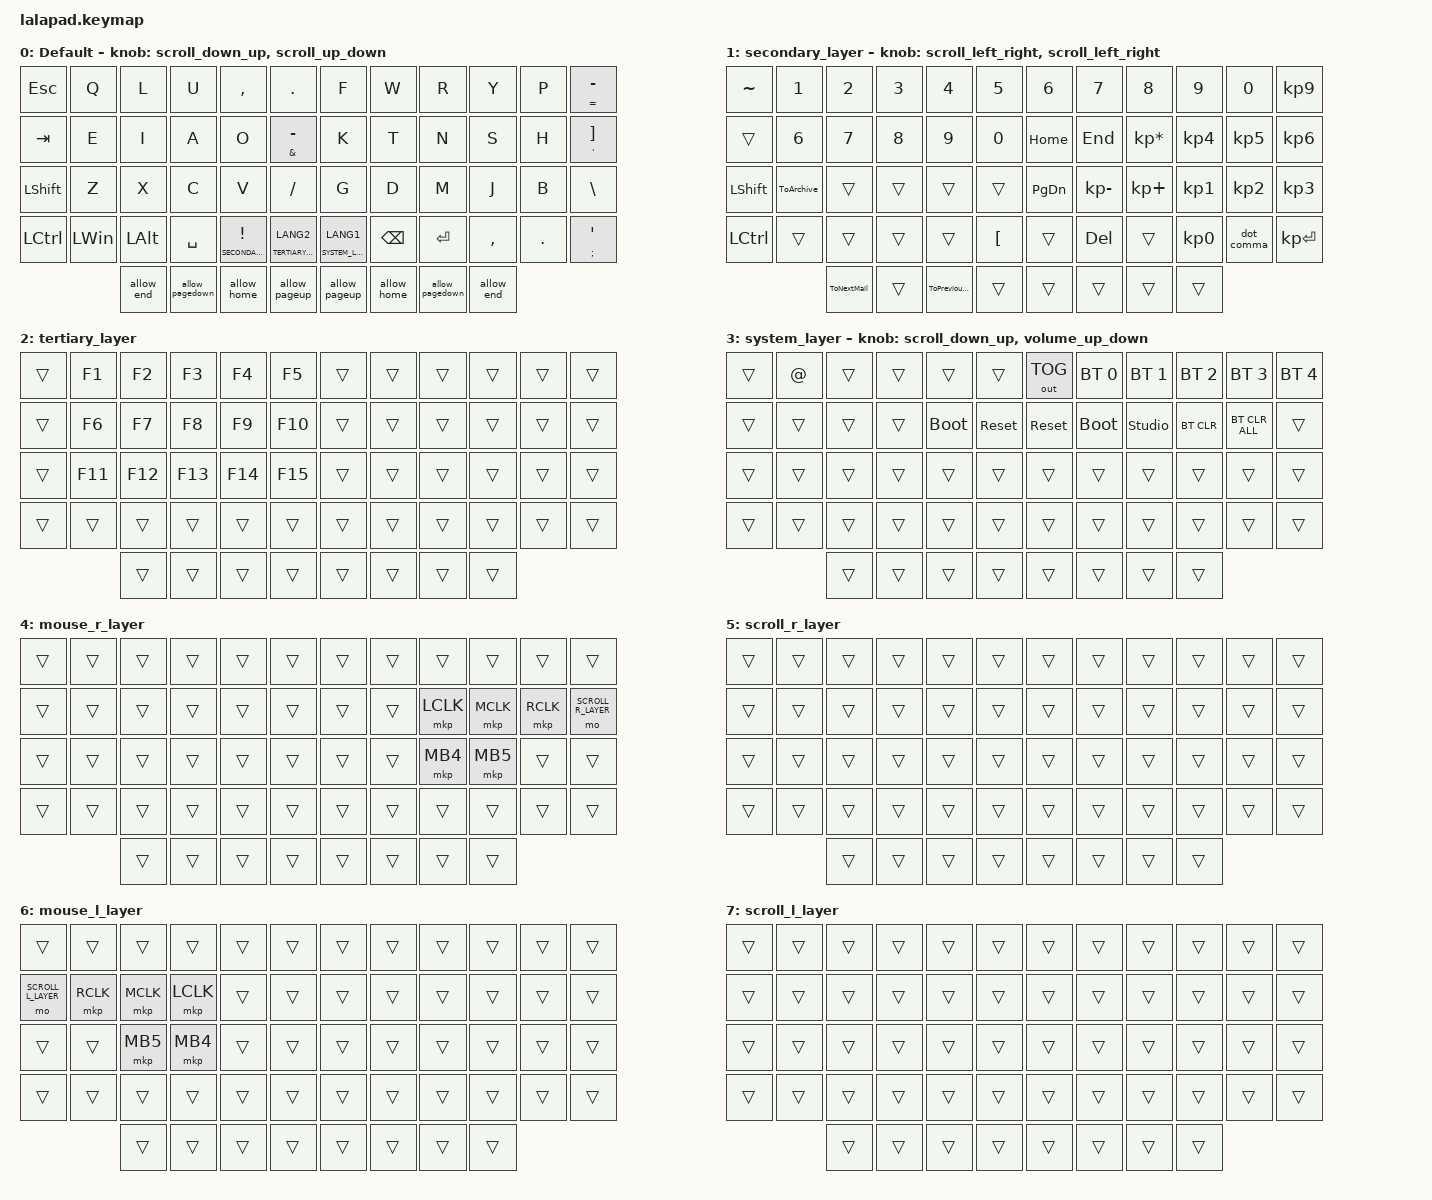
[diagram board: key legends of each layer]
#include <input/processors.dtsi>
#include <behaviors.dtsi>
#include <dt-bindings/zmk/bt.h>
#include <dt-bindings/zmk/keys.h>
#include <dt-bindings/zmk/outputs.h>
#include <dt-bindings/zmk/pointing.h>

#define DEFAULT_LAYER   0
#define SECONDARY_LAYER 1
#define TERTIARY_LAYER  2
#define SYSTEM_LAYER    3
#define MOUSE_R_LAYER   4
#define SCROLL_R_LAYER  5
#define MOUSE_L_LAYER   6
#define SCROLL_L_LAYER  7

// Mouse Scroll Value

#define ZMK_POINTING_DEFAULT_SCRL_VAL 100

// cirque trackpad input&layer control

&glidepoint_listener_R {
    input-processors =
        <&zip_xy_transform (INPUT_TRANSFORM_XY_SWAP | INPUT_TRANSFORM_X_INVERT | INPUT_TRANSFORM_Y_INVERT)>,
        <&zip_xy_scaler 5 3>,
        <&zip_temp_layer MOUSE_R_LAYER 500>;

    lowspeedmode {
        layers = <SECONDARY_LAYER>;
        input-processors =
            <&zip_xy_transform (INPUT_TRANSFORM_XY_SWAP | INPUT_TRANSFORM_X_INVERT | INPUT_TRANSFORM_Y_INVERT)>,
            <&zip_xy_scaler 3 5>,
            <&zip_temp_layer MOUSE_R_LAYER 500>;
    };

    highspeedmode {
        layers = <TERTIARY_LAYER>;
        input-processors =
            <&zip_xy_transform (INPUT_TRANSFORM_XY_SWAP | INPUT_TRANSFORM_X_INVERT | INPUT_TRANSFORM_Y_INVERT)>,
            <&zip_xy_scaler 3 1>,
            <&zip_temp_layer MOUSE_R_LAYER 500>;
    };

    scroller {
        layers = <SCROLL_R_LAYER>;
        input-processors =
            <&zip_xy_to_scroll_mapper>,
            <&zip_scroll_transform (INPUT_TRANSFORM_XY_SWAP | INPUT_TRANSFORM_Y_INVERT)>,
            <&zip_scroll_scaler 1 8>;
    };
};

&glidepoint_listener_L {
    input-processors =
        <&zip_xy_transform (INPUT_TRANSFORM_XY_SWAP | INPUT_TRANSFORM_X_INVERT | INPUT_TRANSFORM_Y_INVERT)>,
        <&zip_xy_scaler 3 2>,
        <&zip_temp_layer MOUSE_L_LAYER 500>;

    lowspeedmode {
        layers = <SECONDARY_LAYER>;
        input-processors =
            <&zip_xy_transform (INPUT_TRANSFORM_XY_SWAP | INPUT_TRANSFORM_X_INVERT | INPUT_TRANSFORM_Y_INVERT)>,
            <&zip_xy_scaler 3 4>,
            <&zip_temp_layer MOUSE_L_LAYER 500>;
    };

    scroller {
        layers = <SCROLL_L_LAYER>;
        input-processors =
            <&zip_xy_to_scroll_mapper>,
            <&zip_scroll_transform (INPUT_TRANSFORM_XY_SWAP | INPUT_TRANSFORM_Y_INVERT)>,
            <&zip_scroll_scaler 1 6>;
    };
};

/ {
    behaviors {
        // Encoder to Mouse Scroll

        scroll_up_down: sensor_scroll_up_down {
            compatible = "zmk,behavior-sensor-rotate";
            #sensor-binding-cells = <0>;
            bindings = <&msc SCRL_UP>, <&msc SCRL_DOWN>;

            tap-ms = <20>;
            label = "SCROLL_UP_DOWN";
        };

        scroll_down_up: sensor_scroll_down_up {
            compatible = "zmk,behavior-sensor-rotate";
            #sensor-binding-cells = <0>;
            bindings = <&msc SCRL_DOWN>, <&msc SCRL_UP>;

            tap-ms = <20>;
            label = "SCROLL_DOWN_UP";
        };

        scroll_left_right: sensor_scroll_left_right {
            compatible = "zmk,behavior-sensor-rotate";
            #sensor-binding-cells = <0>;
            bindings = <&msc SCRL_LEFT>, <&msc SCRL_RIGHT>;

            tap-ms = <20>;
            label = "SCROLL_LEFT_RIGHT";
        };

        scroll_right_left: sensor_scroll_right_left {
            compatible = "zmk,behavior-sensor-rotate";
            #sensor-binding-cells = <0>;
            bindings = <&msc SCRL_RIGHT>, <&msc SCRL_LEFT>;

            tap-ms = <20>;
            label = "SCROLL_RIGHT_LEFT";
        };

        volume_up_down: sensor_volume_up_down {
            compatible = "zmk,behavior-sensor-rotate";
            #sensor-binding-cells = <0>;
            bindings = <&kp C_VOLUME_UP>, <&kp C_VOLUME_DOWN>;

            tap-ms = <20>;
            label = "VOLUME_UP_DOWN";
        };

        dot_comma: dot_comma {
            compatible = "zmk,behavior-mod-morph";
            #binding-cells = <0>;
            bindings = <&kp KP_DOT>, <&kp COMMA>;

            mods = <(MOD_LSFT|MOD_RSFT)>;
            label = "DOT_COMMA";
        };

        pls_minus: pls_minus {
            compatible = "zmk,behavior-mod-morph";
            #binding-cells = <0>;
            bindings = <&kp PLUS>, <&kp MINUS>;

            mods = <(MOD_LSFT|MOD_RSFT)>;
            label = "PLS_MINUS";
        };

        allow_pageup: allow_pageup {
            compatible = "zmk,behavior-mod-morph";
            #binding-cells = <0>;
            bindings = <&kp UP>, <&kp PAGE_UP>;

            mods = <(MOD_LCTL|MOD_RCTL)>;
            label = "ALLOW_PAGEUP";
        };

        allow_pagedown: allow_pagedown {
            compatible = "zmk,behavior-mod-morph";
            #binding-cells = <0>;
            bindings = <&kp DOWN>, <&kp PAGE_DOWN>;

            mods = <(MOD_LCTL|MOD_RCTL)>;
            label = "ALLOW_PAGEDOWN";
        };

        allow_home: allow_home {
            compatible = "zmk,behavior-mod-morph";
            #binding-cells = <0>;
            bindings = <&kp LEFT>, <&kp HOME>;

            mods = <(MOD_LCTL|MOD_RCTL)>;
            label = "ALLOW_HOME";
        };

        allow_end: allow_end {
            compatible = "zmk,behavior-mod-morph";
            #binding-cells = <0>;
            bindings = <&kp RIGHT>, <&kp END>;

            mods = <(MOD_LCTL|MOD_RCTL)>;
            label = "ALLOW_END";
        };

        mt2: mod_tap2 {
            compatible = "zmk,behavior-hold-tap";
            #binding-cells = <2>;
            flavor = "tap-preferred";
            tapping-term-ms = <200>;
            quick-tap-ms = <200>;
            require-prior-idle-ms = <125>;
            bindings = <&kp>, <&kp>;
        };
    };

    macros {
        ToArchive: ToArchive {
            compatible = "zmk,behavior-macro";
            #binding-cells = <0>;
            bindings =
                <&macro_press>,
                <&kp LCTRL &kp LSHIFT &kp N1>,
                <&macro_release>,
                <&kp LCTRL &kp LSHIFT &kp N1>,
                <&macro_press>;

            label = "TOARCHIVE";
        };

        ToNextMail: ToNextMail {
            compatible = "zmk,behavior-macro";
            #binding-cells = <0>;
            bindings =
                <&macro_press>,
                <&kp LCTRL &kp GREATER_THAN>,
                <&macro_release>,
                <&kp LCTRL &kp GREATER_THAN>;

            label = "TONEXTMAIL";
        };

        ToPreviousMail: ToPreviousMail {
            compatible = "zmk,behavior-macro";
            #binding-cells = <0>;
            bindings =
                <&macro_press>,
                <&kp LCTRL &kp LESS_THAN>,
                <&macro_release>,
                <&kp LCTRL &kp LESS_THAN>;

            label = "TOPREVIOUSMAIL";
        };

        at: at {
            compatible = "zmk,behavior-macro";
            #binding-cells = <0>;
            bindings = <&none>;
            label = "AT";
        };
    };

    combos {
        compatible = "zmk,combos";

        NextMail {
            bindings = <&none>;
            key-positions = <36 33>;
        };

        PreviousMail {
            bindings = <&none>;
            key-positions = <36 32>;
        };
    };

    keymap {
        compatible = "zmk,keymap";

        DEFAULT_LAYER {
            display-name = "Default";
            sensor-bindings = <&scroll_down_up>, <&scroll_up_down>;

            bindings = <
&kp ESC    &kp Q         &kp L         &kp U            &kp COMMA                 &kp PERIOD                &kp F                   &kp W          &kp R            &kp Y       &kp P       &mt EQUAL MINUS
&kp TAB    &kp E         &kp I         &kp A            &kp O                     &mt AMPERSAND MINUS       &kp K                   &kp T          &kp N            &kp S       &kp H       &mt2 SQT RBKT
&kp LSHFT  &kp Z         &kp X         &kp C            &kp V                     &kp SLASH                 &kp G                   &kp D          &kp M            &kp J       &kp B       &kp BSLH
&kp LCTRL  &kp LEFT_WIN  &kp LEFT_ALT  &kp SPACE        &lt SECONDARY_LAYER EXCL  &lt TERTIARY_LAYER LANG2  &lt SYSTEM_LAYER LANG1  &kp BACKSPACE  &kp RET          &kp COMMA   &kp PERIOD  &mt SEMICOLON SINGLE_QUOTE
                         &allow_end    &allow_pagedown  &allow_home               &allow_pageup             &allow_pageup           &allow_home    &allow_pagedown  &allow_end
            >;
        };

        SECONDARY_LAYER {
            display-name = "secondary_layer";
            sensor-bindings = <&scroll_left_right>, <&scroll_left_right>;

            bindings = <
&kp TILDE         &kp NUMBER_1  &kp NUMBER_2  &kp NUMBER_3  &kp NUMBER_4     &kp NUMBER_5      &kp NUMBER_6   &kp N7        &kp N8           &kp N9           &kp N0           &kp KP_NUMBER_9
&trans            &kp NUMBER_6  &kp NUMBER_7  &kp NUMBER_8  &kp NUMBER_9     &kp NUMBER_0      &kp HOME       &kp END       &kp KP_ASTERISK  &kp KP_NUMBER_4  &kp KP_NUMBER_5  &kp KP_NUMBER_6
&kp LEFT_SHIFT    &ToArchive    &trans        &trans        &trans           &trans            &kp PAGE_DOWN  &kp KP_MINUS  &kp KP_PLUS      &kp KP_NUMBER_1  &kp KP_NUMBER_2  &kp KP_NUMBER_3
&kp LEFT_CONTROL  &trans        &trans        &trans        &trans           &kp LEFT_BRACKET  &trans         &kp DELETE    &trans           &kp KP_NUMBER_0  &dot_comma       &kp KP_ENTER
                                &ToNextMail   &trans        &ToPreviousMail  &trans            &trans         &trans        &trans           &trans
            >;
        };

        TERTIARY_LAYER {
            display-name = "tertiary_layer";
            bindings = <
&trans  &kp F1   &kp F2   &kp F3   &kp F4   &kp F5   &trans  &trans  &trans  &trans  &trans  &trans
&trans  &kp F6   &kp F7   &kp F8   &kp F9   &kp F10  &trans  &trans  &trans  &trans  &trans  &trans
&trans  &kp F11  &kp F12  &kp F13  &kp F14  &kp F15  &trans  &trans  &trans  &trans  &trans  &trans
&trans  &trans   &trans   &trans   &trans   &trans   &trans  &trans  &trans  &trans  &trans  &trans
                 &trans   &trans   &trans   &trans   &trans  &trans  &trans  &trans
            >;
        };

        SYSTEM_LAYER {
            display-name = "system_layer";
            sensor-bindings = <&scroll_down_up>, <&volume_up_down>;

            bindings = <
&trans  &kp AT_SIGN  &trans  &trans  &trans       &trans      &out OUT_TOG  &bt BT_SEL 0  &bt BT_SEL 1    &bt BT_SEL 2  &bt BT_SEL 3    &bt BT_SEL 4
&trans  &trans       &trans  &trans  &bootloader  &sys_reset  &sys_reset    &bootloader   &studio_unlock  &bt BT_CLR    &bt BT_CLR_ALL  &trans
&trans  &trans       &trans  &trans  &trans       &trans      &trans        &trans        &trans          &trans        &trans          &trans
&trans  &trans       &trans  &trans  &trans       &trans      &trans        &trans        &trans          &trans        &trans          &trans
                     &trans  &trans  &trans       &trans      &trans        &trans        &trans          &trans
            >;
        };

        MOUSE_R_LAYER {
            display-name = "mouse_r_layer";
            bindings = <
&trans  &trans  &trans  &trans  &trans  &trans  &trans  &trans  &trans     &trans     &trans     &trans
&trans  &trans  &trans  &trans  &trans  &trans  &trans  &trans  &mkp LCLK  &mkp MCLK  &mkp RCLK  &mo SCROLL_R_LAYER
&trans  &trans  &trans  &trans  &trans  &trans  &trans  &trans  &mkp MB4   &mkp MB5   &trans     &trans
&trans  &trans  &trans  &trans  &trans  &trans  &trans  &trans  &trans     &trans     &trans     &trans
                &trans  &trans  &trans  &trans  &trans  &trans  &trans     &trans
            >;
        };

        SCROLL_R_LAYER {
            display-name = "scroll_r_layer";
            bindings = <
&trans  &trans  &trans  &trans  &trans  &trans  &trans  &trans  &trans  &trans  &trans  &trans
&trans  &trans  &trans  &trans  &trans  &trans  &trans  &trans  &trans  &trans  &trans  &trans
&trans  &trans  &trans  &trans  &trans  &trans  &trans  &trans  &trans  &trans  &trans  &trans
&trans  &trans  &trans  &trans  &trans  &trans  &trans  &trans  &trans  &trans  &trans  &trans
                &trans  &trans  &trans  &trans  &trans  &trans  &trans  &trans
            >;
        };

        MOUSE_L_LAYER {
            display-name = "mouse_l_layer";
            bindings = <
&trans              &trans     &trans     &trans     &trans  &trans  &trans  &trans  &trans  &trans  &trans  &trans
&mo SCROLL_L_LAYER  &mkp RCLK  &mkp MCLK  &mkp LCLK  &trans  &trans  &trans  &trans  &trans  &trans  &trans  &trans
&trans              &trans     &mkp MB5   &mkp MB4   &trans  &trans  &trans  &trans  &trans  &trans  &trans  &trans
&trans              &trans     &trans     &trans     &trans  &trans  &trans  &trans  &trans  &trans  &trans  &trans
                               &trans     &trans     &trans  &trans  &trans  &trans  &trans  &trans
            >;
        };

        SCROLL_L_LAYER {
            display-name = "scroll_l_layer";
            bindings = <
&trans  &trans  &trans  &trans  &trans  &trans  &trans  &trans  &trans  &trans  &trans  &trans
&trans  &trans  &trans  &trans  &trans  &trans  &trans  &trans  &trans  &trans  &trans  &trans
&trans  &trans  &trans  &trans  &trans  &trans  &trans  &trans  &trans  &trans  &trans  &trans
&trans  &trans  &trans  &trans  &trans  &trans  &trans  &trans  &trans  &trans  &trans  &trans
                &trans  &trans  &trans  &trans  &trans  &trans  &trans  &trans
            >;
        };
    };
};
